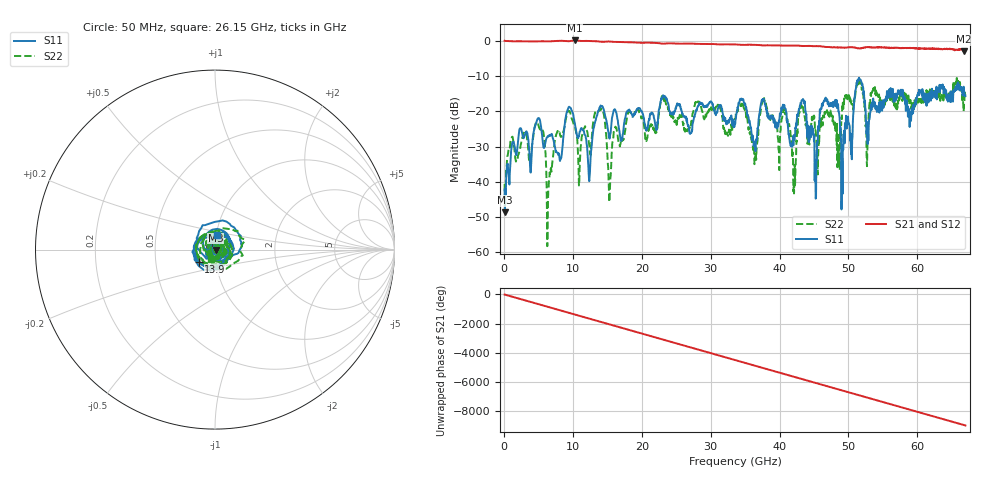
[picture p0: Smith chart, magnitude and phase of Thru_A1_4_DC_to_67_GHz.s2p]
#  HZ  S  MA  R  50.00
! Rohde & Schwarz ZVA67 4Ports - Version 4.11 - 1305.7002k04 SN: 101051
! Date: 2023-05-31 11:07:52
! Measurements: S11 S21 S12 S22
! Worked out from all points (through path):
!   1340 points, 50 MHz to 67 GHz, reference 50 ohm
!   highest |S21| = 0.12 dB at 10.25 GHz (marker M1); lowest = -3.0 dB at 66.8 GHz (marker M2)
!   group delay of S21, straight-line fit = 373 ps
!   lowest |S11| = -48.7 dB at 100 MHz (marker M3), VSWR 1.01, Z = 50.3 - j0.201 ohm
!   |S11| at or under -10 dB: start of sweep to end of sweep
!   |S22| runs from -58.3 to -10.5 dB; largest |S21 - S12| = 0.02
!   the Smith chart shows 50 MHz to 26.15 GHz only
!   S11 on the Smith chart (normalised r, x): 50 MHz: 1.01, +0.01; 13.9 GHz: 0.83, -0.11; 26.15 GHz: 1.01, +0.17
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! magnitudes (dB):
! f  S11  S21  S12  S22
! 50 MHz  -42.2  0.0  0.0  -40.7
! 100 MHz  -48.7  0.0  0.0  -48.5
! 4.75 GHz  -22.6  -0.2  -0.2  -23.2
! 6.45 GHz  -27.0  -0.1  -0.1  -41.3
! 7.6 GHz  -31.7  0.0  0.0  -26.4
! 10.25 GHz  -23.3  0.1  0.1  -24.3
! 11.25 GHz  -24.8  0.0  0.0  -27.3
! 12.4 GHz  -38.5  0.0  0.0  -30.6
! 13.9 GHz  -18.9  -0.2  -0.2  -19.7
! 15.3 GHz  -27.8  -0.2  -0.2  -45.2
! 18.1 GHz  -19.8  -0.4  -0.4  -20.2
! 22.4 GHz  -20.8  -0.6  -0.6  -21.8
! 26.15 GHz  -21.6  -0.8  -0.8  -25.3
! 33.55 GHz  -23.6  -1.0  -1.0  -22.1
! 36.4 GHz  -29.9  -1.1  -1.1  -34.1
! 40.7 GHz  -18.2  -1.3  -1.3  -19.9
! 42.1 GHz  -26.7  -1.3  -1.3  -43.3
! 43 GHz  -18.5  -1.4  -1.4  -19.8
! 44.7 GHz  -24.1  -1.5  -1.5  -21.6
! 55.85 GHz  -16.2  -2.0  -1.9  -15.8
! 66.8 GHz  -14.3  -3.0  -3.0  -17.7
! 67 GHz  -15.6  -2.8  -2.7  -15.5
